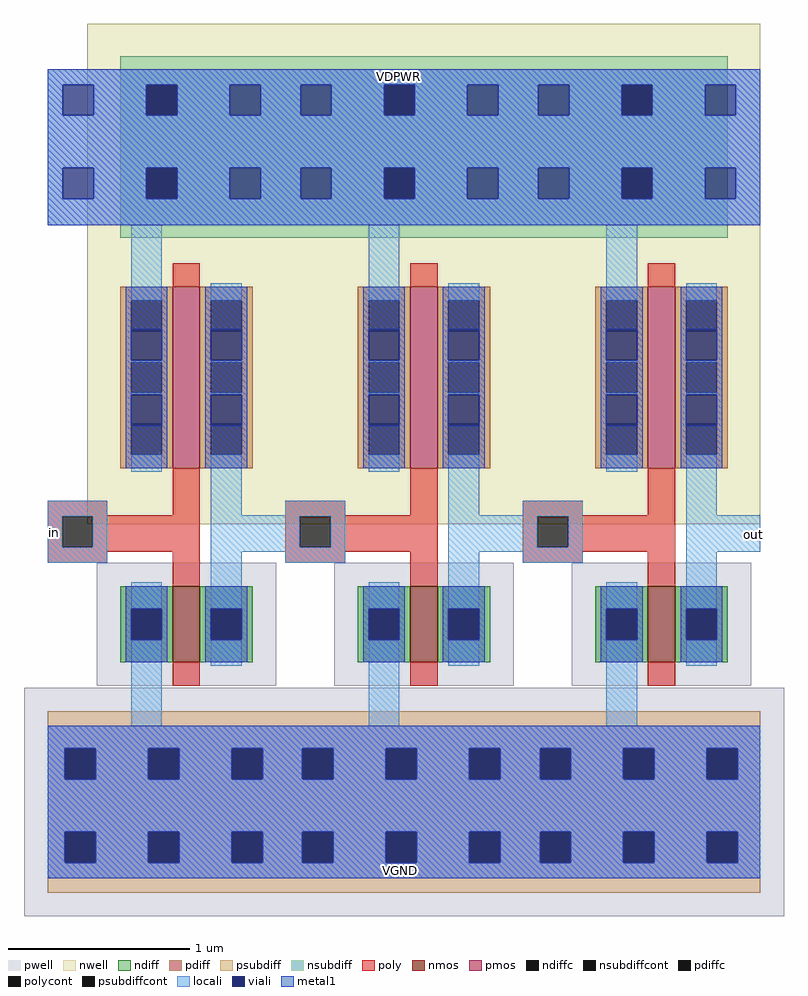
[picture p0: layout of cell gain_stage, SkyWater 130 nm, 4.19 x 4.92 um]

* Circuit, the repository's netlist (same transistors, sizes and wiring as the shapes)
* NGSPICE file created from gain_stage.ext - technology: sky130A

.subckt sky130_fd_pr__pfet_01v8_TH65V5 a_n73_n100# w_n109_n162# a_15_n100# a_n15_n126#
X0 a_15_n100# a_n15_n126# a_n73_n100# w_n109_n162# sky130_fd_pr__pfet_01v8 ad=0.29 pd=2.58 as=0.29 ps=2.58 w=1 l=0.15
.ends

.subckt sky130_fd_pr__nfet_01v8_PNPQML a_15_n42# a_n15_n68# a_n73_n42# VSUBS
X0 a_15_n42# a_n15_n68# a_n73_n42# VSUBS sky130_fd_pr__nfet_01v8 ad=0.1218 pd=1.42 as=0.1218 ps=1.42 w=0.42 l=0.15
.ends

.subckt inverter_p1_n0o42 a_n80_136# li_100_114# w_n36_502# sky130_fd_pr__pfet_01v8_TH65V5_0/VSUBS
Xsky130_fd_pr__pfet_01v8_TH65V5_0 w_n36_502# w_n36_502# li_100_114# a_n80_136# sky130_fd_pr__pfet_01v8_TH65V5
Xsky130_fd_pr__nfet_01v8_PNPQML_0 li_100_114# a_n80_136# sky130_fd_pr__pfet_01v8_TH65V5_0/VSUBS
+ sky130_fd_pr__pfet_01v8_TH65V5_0/VSUBS sky130_fd_pr__nfet_01v8_PNPQML
.ends

.subckt gain_stage in out VGND VDPWR
Xinverter_p1_n0o42_0 in inverter_p1_n0o42_1/a_n80_136# VDPWR VGND inverter_p1_n0o42
Xinverter_p1_n0o42_1 inverter_p1_n0o42_1/a_n80_136# inverter_p1_n0o42_2/a_n80_136#
+ VDPWR VGND inverter_p1_n0o42
Xinverter_p1_n0o42_2 inverter_p1_n0o42_2/a_n80_136# out VDPWR VGND inverter_p1_n0o42
.ends

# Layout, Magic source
magic
tech sky130A
<< nwell >>
rect 131 461 153 479
rect 262 461 284 479
rect 113 361 171 461
rect 244 361 302 461
rect 131 203 153 361
rect 262 203 284 361
<< nsubdiff >>
rect 113 361 171 461
rect 244 361 302 461
<< locali >>
rect 0 195 8 202
rect 385 194 393 201
<< metal1 >>
rect 185 446 202 454
rect 186 8 203 16
use inverter_p1_n0o42  inverter_p1_n0o42_0
transform 1 0 40 0 1 114
box -53 -127 104 365
use inverter_p1_n0o42  inverter_p1_n0o42_1
transform 1 0 171 0 1 114
box -53 -127 104 365
use inverter_p1_n0o42  inverter_p1_n0o42_2
transform 1 0 302 0 1 114
box -53 -127 104 365
<< labels >>
rlabel locali s 0 195 8 202 4 in
port 1 nsew
rlabel locali s 385 194 393 201 4 out
port 2 nsew
rlabel metal1 s 186 8 203 16 4 VGND
port 3 nsew
rlabel metal1 s 185 446 202 454 4 VDPWR
port 4 nsew
<< end >>

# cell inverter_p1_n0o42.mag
magic
tech sky130A
magscale 1 2
<< nwell >>
rect -36 502 182 730
rect -16 478 152 502
rect 12 444 46 478
<< pwell >>
rect -106 -254 208 -2
<< psubdiff >>
rect -80 -69 182 -28
rect -80 -103 -61 -69
rect -27 -103 31 -69
rect 65 -103 123 -69
rect 157 -103 182 -69
rect -80 -161 182 -103
rect -80 -195 -61 -161
rect -27 -195 31 -161
rect 65 -195 123 -161
rect 157 -195 182 -161
rect -80 -228 182 -195
<< nsubdiff >>
rect 0 663 146 694
rect 0 629 29 663
rect 63 629 146 663
rect 0 571 146 629
rect 0 537 29 571
rect 63 537 146 571
rect 0 494 146 537
<< psubdiffcont >>
rect -61 -103 -27 -69
rect 31 -103 65 -69
rect 123 -103 157 -69
rect -61 -195 -27 -161
rect 31 -195 65 -161
rect 123 -195 157 -161
<< nsubdiffcont >>
rect 29 629 63 663
rect 29 537 63 571
<< poly >>
rect -80 188 -14 204
rect 58 188 88 214
rect -80 187 88 188
rect -80 153 -64 187
rect -30 153 88 187
rect -80 148 88 153
rect -80 136 -14 148
rect 58 136 88 148
<< polycont >>
rect -64 153 -30 187
<< locali >>
rect -80 663 182 680
rect -80 629 -63 663
rect -29 629 29 663
rect 63 629 121 663
rect 155 629 182 663
rect -80 571 182 629
rect -80 537 -63 571
rect -29 537 29 571
rect 63 537 121 571
rect 155 537 182 571
rect -80 508 182 537
rect 12 444 46 508
rect -80 187 -14 204
rect -80 153 -64 187
rect -30 153 -14 187
rect -80 136 -14 153
rect 100 188 134 236
rect 100 148 182 188
rect 100 114 134 148
rect 12 -44 46 22
rect -80 -69 182 -44
rect -80 -103 -61 -69
rect -27 -103 31 -69
rect 65 -103 123 -69
rect 157 -103 182 -69
rect -80 -161 182 -103
rect -80 -195 -61 -161
rect -27 -195 31 -161
rect 65 -195 123 -161
rect 157 -195 182 -161
rect -80 -212 182 -195
<< viali >>
rect -63 629 -29 663
rect 29 629 63 663
rect 121 629 155 663
rect -63 537 -29 571
rect 29 537 63 571
rect 121 537 155 571
rect -61 -103 -27 -69
rect 31 -103 65 -69
rect 123 -103 157 -69
rect -61 -195 -27 -161
rect 31 -195 65 -161
rect 123 -195 157 -161
<< metal1 >>
rect -80 663 182 680
rect -80 629 -63 663
rect -29 629 29 663
rect 63 629 121 663
rect 155 629 182 663
rect -80 571 182 629
rect -80 537 -63 571
rect -29 537 29 571
rect 63 537 121 571
rect 155 537 182 571
rect -80 508 182 537
rect -80 -69 182 -44
rect -80 -103 -61 -69
rect -27 -103 31 -69
rect 65 -103 123 -69
rect 157 -103 182 -69
rect -80 -161 182 -103
rect -80 -195 -61 -161
rect -27 -195 31 -161
rect 65 -195 123 -161
rect 157 -195 182 -161
rect -80 -212 182 -195
use sky130_fd_pr__nfet_01v8_PNPQML  sky130_fd_pr__nfet_01v8_PNPQML_0
transform 1 0 73 0 1 68
box -99 -68 99 68
use sky130_fd_pr__pfet_01v8_TH65V5  sky130_fd_pr__pfet_01v8_TH65V5_0
transform 1 0 73 0 1 340
box -109 -162 109 162
<< end >>

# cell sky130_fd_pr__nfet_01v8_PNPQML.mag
magic
tech sky130A
magscale 1 2
<< pwell >>
rect -99 -68 99 68
<< nmos >>
rect -15 -42 15 42
<< ndiff >>
rect -73 17 -15 42
rect -73 -17 -61 17
rect -27 -17 -15 17
rect -73 -42 -15 -17
rect 15 17 73 42
rect 15 -17 27 17
rect 61 -17 73 17
rect 15 -42 73 -17
<< ndiffc >>
rect -61 -17 -27 17
rect 27 -17 61 17
<< poly >>
rect -15 42 15 68
rect -15 -68 15 -42
<< locali >>
rect -61 17 -27 46
rect -61 -46 -27 -17
rect 27 17 61 46
rect 27 -46 61 -17
<< viali >>
rect -61 -17 -27 17
rect 27 -17 61 17
<< metal1 >>
rect -67 17 -21 42
rect -67 -17 -61 17
rect -27 -17 -21 17
rect -67 -42 -21 -17
rect 21 17 67 42
rect 21 -17 27 17
rect 61 -17 67 17
rect 21 -42 67 -17
<< end >>

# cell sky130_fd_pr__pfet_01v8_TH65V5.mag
magic
tech sky130A
magscale 1 2
<< nwell >>
rect -109 -162 109 162
<< pmos >>
rect -15 -100 15 100
<< pdiff >>
rect -73 85 -15 100
rect -73 51 -61 85
rect -27 51 -15 85
rect -73 17 -15 51
rect -73 -17 -61 17
rect -27 -17 -15 17
rect -73 -51 -15 -17
rect -73 -85 -61 -51
rect -27 -85 -15 -51
rect -73 -100 -15 -85
rect 15 85 73 100
rect 15 51 27 85
rect 61 51 73 85
rect 15 17 73 51
rect 15 -17 27 17
rect 61 -17 73 17
rect 15 -51 73 -17
rect 15 -85 27 -51
rect 61 -85 73 -51
rect 15 -100 73 -85
<< pdiffc >>
rect -61 51 -27 85
rect -61 -17 -27 17
rect -61 -85 -27 -51
rect 27 51 61 85
rect 27 -17 61 17
rect 27 -85 61 -51
<< poly >>
rect -15 100 15 126
rect -15 -126 15 -100
<< locali >>
rect -61 85 -27 104
rect -61 17 -27 19
rect -61 -19 -27 -17
rect -61 -104 -27 -85
rect 27 85 61 104
rect 27 17 61 19
rect 27 -19 61 -17
rect 27 -104 61 -85
<< viali >>
rect -61 51 -27 53
rect -61 19 -27 51
rect -61 -51 -27 -19
rect -61 -53 -27 -51
rect 27 51 61 53
rect 27 19 61 51
rect 27 -51 61 -19
rect 27 -53 61 -51
<< metal1 >>
rect -67 53 -21 100
rect -67 19 -61 53
rect -27 19 -21 53
rect -67 -19 -21 19
rect -67 -53 -61 -19
rect -27 -53 -21 -19
rect -67 -100 -21 -53
rect 21 53 67 100
rect 21 19 27 53
rect 61 19 67 53
rect 21 -19 67 19
rect 21 -53 27 -19
rect 61 -53 67 -19
rect 21 -100 67 -53
<< end >>
